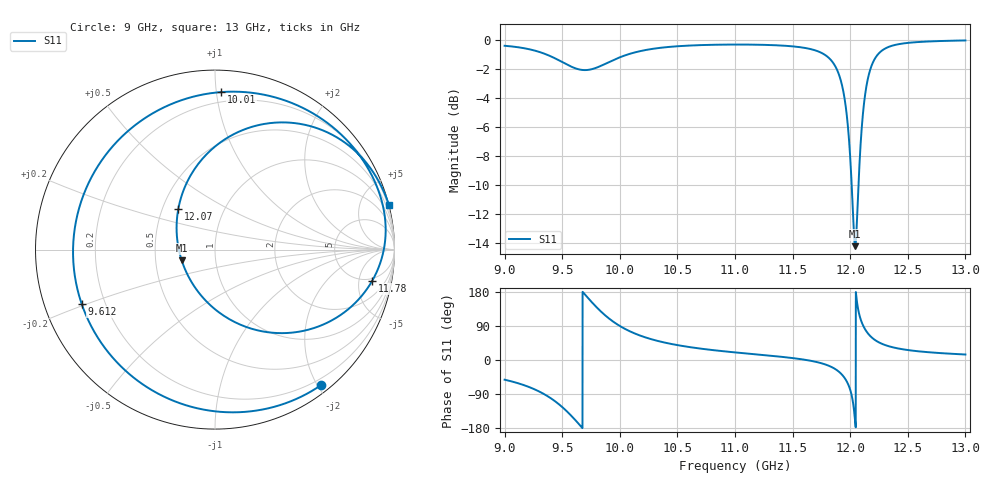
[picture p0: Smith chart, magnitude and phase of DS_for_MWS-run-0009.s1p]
! TOUCHSTONE file generated by CST DESIGN STUDIO
! Date and time: Tue Feb  4 18:03:06 2025
! Project name: C:\Work\MatlabApps\UnitCellOptimizationMatlab\CST\unitcell.cst
! Tree item: Tasks\Sweep1\SPara1\S-Parameters
! Header version: 2024
! Port assignment regex: !\s*Touchstone port\s*([0-9]+)\s*=\s*(CST MWS port|CST DES external port|CST DES block port)\s*(.+)\s* \(\"(.*)\"\)(\s*mode\s*([0-9]+))?.*
! Touchstone port assignment:
! Touchstone port 1 = CST DES external port 1 ("")
# GHz S MA R 50
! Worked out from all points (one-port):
!   4001 points, 9 GHz to 13 GHz, reference 50 ohm
!   lowest |S11| = -14.2 dB at 12.04 GHz (marker M1), VSWR 1.48, Z = 34.1 - j4.27 ohm
!   |S11| at or under -10 dB: 12.01313 GHz to 12.07177 GHz (58.64 MHz wide, 0.487 % of centre)
!   S11 on the Smith chart (normalised r, x): 9 GHz: 0.11, -2.05; 9.612 GHz: 0.11, -0.19; 10.01 GHz: 0.13, +1.03; 11.78 GHz: 4.44, -7.62; 12.07 GHz: 0.60, +0.30; 13 GHz: -0.00, +7.85
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9  0.9586 -52.0
9.168  0.9404 -66.4
9.32  0.9077 -86.2
9.416  0.8759 -104.0
9.5  0.8425 -124.1
9.612  0.8021 -157.9
9.712  0.7905 167.7
9.823  0.8131 131.8
9.907  0.8426 109.4
10  0.8746 89.8
10.012  0.8784 87.7
10.227  0.9273 59.2
10.5  0.955 39.3
11  0.9681 20.0
11.5  0.9542 5.1
11.779  0.8929 -11.2
11.85  0.8391 -20.3
11.905  0.7572 -31.7
11.961  0.5924 -51.8
12  0.3953 -78.4
12.043  0.195 -162.0
12.07  0.3048 132.1
12.117  0.5918 87.9
12.168  0.7788 65.2
12.223  0.8764 51.2
12.29  0.9311 40.9
12.5  0.9808 26.3
13  1 14.5
